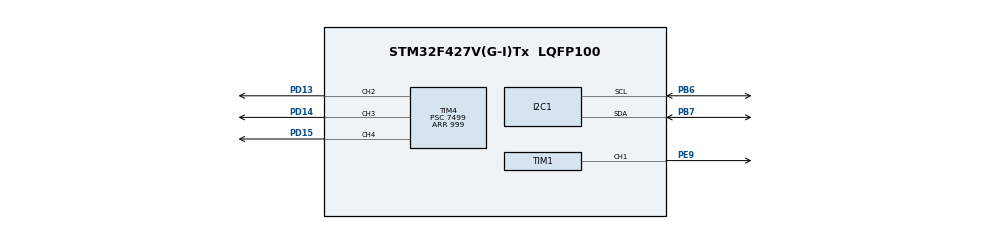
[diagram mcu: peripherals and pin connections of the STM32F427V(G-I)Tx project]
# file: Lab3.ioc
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Mcu.Family=STM32F4
Mcu.Name=STM32F427V(G-I)Tx
Mcu.Package=LQFP100
NVIC.PriorityGroup=NVIC_PRIORITYGROUP_4
NVIC.TIM6_DAC_IRQn=true\:0\:0\:false\:false\:true\:true\:true
NVIC.TIM7_IRQn=true\:0\:0\:false\:false\:true\:true\:true
PA13.Mode=JTAG_5_pins
PA13.Signal=SYS_JTMS-SWDIO
PA14.Mode=JTAG_5_pins
PA14.Signal=SYS_JTCK-SWCLK
PA15.Mode=JTAG_5_pins
PA15.Signal=SYS_JTDI
PB3.Mode=JTAG_5_pins
PB3.Signal=SYS_JTDO-SWO
PB4.Mode=JTAG_5_pins
PB4.Signal=SYS_JTRST
PB6.Mode=I2C
PB6.Signal=I2C1_SCL
PB7.Mode=I2C
PB7.Signal=I2C1_SDA
PD13.Signal=S_TIM4_CH2
PD14.Signal=S_TIM4_CH3
PD15.Signal=S_TIM4_CH4
PE9.Signal=S_TIM1_CH1
PH0/OSC_IN.Mode=HSE-External-Oscillator
PH0/OSC_IN.Signal=RCC_OSC_IN
PH1/OSC_OUT.Mode=HSE-External-Oscillator
PH1/OSC_OUT.Signal=RCC_OSC_OUT
ProjectManager.HeapSize=0x200
ProjectManager.StackSize=0x400
ProjectManager.TargetToolchain=STM32CubeIDE
RCC.48MHZClocksFreq_Value=75000000
RCC.AHBFreq_Value=150000000
RCC.APB1CLKDivider=RCC_HCLK_DIV4
RCC.APB1Freq_Value=37500000
RCC.APB1TimFreq_Value=75000000
RCC.APB2CLKDivider=RCC_HCLK_DIV2
RCC.APB2Freq_Value=75000000
RCC.APB2TimFreq_Value=150000000
RCC.CortexFreq_Value=150000000
RCC.HCLKFreq_Value=150000000
RCC.HSE_VALUE=25000000
RCC.HSI_VALUE=16000000
RCC.LSE_VALUE=32768
RCC.PLLSourceVirtual=RCC_PLLSOURCE_HSE
RCC.SYSCLKFreq_VALUE=150000000
RCC.SYSCLKSource=RCC_SYSCLKSOURCE_PLLCLK
RCC.VCOOutputFreq_Value=300000000
SH.S_TIM1_CH1.0=TIM1_CH1,PWM Generation1 CH1
SH.S_TIM4_CH2.0=TIM4_CH2,PWM Generation2 CH2
SH.S_TIM4_CH3.0=TIM4_CH3,PWM Generation3 CH3
SH.S_TIM4_CH4.0=TIM4_CH4,PWM Generation4 CH4
TIM1.Channel-PWM\ Generation1\ CH1=TIM_CHANNEL_1
TIM1.Period=999
TIM1.Prescaler=74
TIM1.Pulse-PWM\ Generation1\ CH1=500
TIM4.Channel-PWM\ Generation2\ CH2=TIM_CHANNEL_2
TIM4.Channel-PWM\ Generation3\ CH3=TIM_CHANNEL_3
TIM4.Channel-PWM\ Generation4\ CH4=TIM_CHANNEL_4
TIM4.Period=999
TIM4.Prescaler=7499
TIM4.Pulse-PWM\ Generation2\ CH2=1000
TIM4.Pulse-PWM\ Generation3\ CH3=1000
TIM4.Pulse-PWM\ Generation4\ CH4=1000
TIM6.AutoReloadPreload=TIM_AUTORELOAD_PRELOAD_DISABLE
TIM6.Period=7499
TIM6.Prescaler=749
TIM7.AutoReloadPreload=TIM_AUTORELOAD_PRELOAD_DISABLE
TIM7.Period=9999
TIM7.Prescaler=14999
VP_TIM1_VS_ClockSourceINT.Mode=Internal
VP_TIM4_VS_ClockSourceINT.Mode=Internal
VP_TIM6_VS_ClockSourceINT.Mode=Enable_Timer
VP_TIM7_VS_ClockSourceINT.Mode=Enable_Timer
board=custom

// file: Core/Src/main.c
/* USER CODE BEGIN Header */
/**
 ******************************************************************************
 * @file           : main.c
 * @brief          : Main program body
 ******************************************************************************
 * @attention
 *
 * <h2><center>&copy; Copyright (c) 2021 STMicroelectronics.
 * All rights reserved.</center></h2>
 *
 * This software component is licensed by ST under BSD 3-Clause license,
 * the "License"; You may not use this file except in compliance with the
 * License. You may obtain a copy of the License at:
 *                        opensource.org/licenses/BSD-3-Clause
 *
 ******************************************************************************
 */
/* USER CODE END Header */
#include "main.h"
#include "i2c.h"
#include "tim.h"
#include "gpio.h"

/* USER CODE BEGIN Includes */

#include <string.h>
#include <stdio.h>
#include "uart_driver.h"
#include "kb.h"

/* USER CODE END Includes */

/* USER CODE BEGIN PTD */

typedef enum {
	DIF_LVL_EASY = 0, DIF_LVL_MEDIUM = 1, DIF_LVL_HARD = 2
} DIFFICULT_LEVEL;

typedef enum {
	GAME_MODE_LED = 0, GAME_MODE_SOUND = 1, GAME_MODE_LED_AND_SOUND,
} GAME_MODE;

typedef enum {
	LED_COLOR_GREEN = 0, LED_COLOR_RED = 1, LED_COLOR_YELLOW = 2
} LED_COLOR;

typedef enum {
	LED_BRIGHTNESS_20 = 200,	// 20% of 1000
	LED_BRIGHTNESS_50 = 500,	// 50% of 1000
	LED_BRIGHTNESS_100 = 1000	// 100% of 1000
} LED_BRIGHTNESS;

/* USER CODE END PTD */

/* USER CODE BEGIN PD */

#define GAME_SEQUENCE_LEN 21
#define ANSWER_VARIANTS_LEN 9
#define NOTE_BASE_FREQ 100000
#define GAME_MODES_LEN 3
#define GAME_DIF_LVLS_LEN 3

#define KEY_BUFFER_LEN 8

#define PCA9538_INPUT_REGISTER 0x00
#define PCA9538_CONFIG_REGISTER 0x03
#define PCA9538_ADDR 0xE2

/* USER CODE END PD */

/* USER CODE BEGIN PV */

const uint32_t step_duration[3] = { 9999, 4999, 2499 }; // step durations in ms for easy, medium and hard LEVEL
const uint32_t note_T[ANSWER_VARIANTS_LEN] = {
NOTE_BASE_FREQ / 262,	// C
NOTE_BASE_FREQ / 294, 	// D
NOTE_BASE_FREQ / 330, 	// E
NOTE_BASE_FREQ / 349, 	// F
NOTE_BASE_FREQ / 392, 	// G
NOTE_BASE_FREQ / 440, 	// A
NOTE_BASE_FREQ / 494, 	// B
NOTE_BASE_FREQ / 523, 	// C+
NOTE_BASE_FREQ / 587	// D+
};
const LED_COLOR led_color[ANSWER_VARIANTS_LEN] = { LED_COLOR_GREEN,
		LED_COLOR_RED, LED_COLOR_YELLOW,

		LED_COLOR_GREEN, LED_COLOR_RED, LED_COLOR_YELLOW,

		LED_COLOR_GREEN, LED_COLOR_RED, LED_COLOR_YELLOW };
const LED_BRIGHTNESS led_brightness[ANSWER_VARIANTS_LEN] = { LED_BRIGHTNESS_20,
		LED_BRIGHTNESS_50, LED_BRIGHTNESS_100,

		LED_BRIGHTNESS_50, LED_BRIGHTNESS_100, LED_BRIGHTNESS_20,

		LED_BRIGHTNESS_100, LED_BRIGHTNESS_20, LED_BRIGHTNESS_50, };
const uint16_t keys_sequence[GAME_SEQUENCE_LEN] = { 1, 5, 0, 3, 7, 4, 3, 8, 2,
		5, 8, 2, 4, 6, 1, 0, 3, 6, 2, 8, 7 };

uint8_t current_step = 0;
uint8_t current_step_button_pressed = 0;
DIFFICULT_LEVEL dif_lvl = DIF_LVL_EASY;
GAME_MODE game_mode = GAME_MODE_LED_AND_SOUND;
uint8_t in_game = 0;

uint8_t keyboard_test_mode = 0;

uint8_t game_progress[GAME_SEQUENCE_LEN] = { 0 };

uint8_t keys_buffer[KEY_BUFFER_LEN];
uint8_t* keys_buffer_read_p;
uint8_t* keys_buffer_write_p;

// Messages
const char *MSG_GAME_DIFFICULTY_CHANGED[GAME_DIF_LVLS_LEN] = {
		"Game difficulty changed to easy\r\n",
		"Game difficulty changed to medium\r\n",
		"Game difficulty changed to hard\r\n" };
const char *MSG_GAME_MODE_CHANGED[GAME_MODES_LEN] = {
		"Game mode changed to 'only LEDs'\r\n",
		"Game mode changed to 'only sound'\r\n",
		"Game mode changed to 'LEDs and sound'\r\n" };

const char *MSG_GAME_STARTED = "Game is started\r\n";
const char *MSG_GAME_STOPPED = "Game is stopped\r\n";
const char *MSG_GAME_FINISHED = "Game is finished\r\n";

char *MSG_KEY_PRESSED = "Pressed key - #\r\n";
const uint8_t KEY_IN_MSG_KEY_PRESSED_INS_POS = 14;

const char *MSG_KEY_COLOR[ANSWER_VARIANTS_LEN] = {
		"Key LED color GREEN with brightness 20%\r\n",
		"Key LED color RED with brightness 50%\r\n",
		"Key LED color YELLOW with brightness 100%\r\n",
		"Key LED color GREEN with brightness 50%\r\n",
		"Key LED color RED with brightness 100%\r\n",
		"Key LED color YELLOW with brightness 20%\r\n",
		"Key LED color GREEN with brightness 100%\r\n",
		"Key LED color RED with brightness 20%\r\n",
		"Key LED color YELLOW with brightness 50%\r\n" };

const char *MSG_KEY_SOUND[ANSWER_VARIANTS_LEN] = {
		"Key sound frequency is 262\r\n", "Key sound frequency is 294\r\n",
		"Key sound frequency is 330\r\n", "Key sound frequency is 349\r\n",
		"Key sound frequency is 392\r\n", "Key sound frequency is 440\r\n",
		"Key sound frequency is 494\r\n", "Key sound frequency is 523\r\n",
		"Key sound frequency is 587\r\n" };

const char *MSG_GAME_RESULT = "Result:\r\n";
const char *MSG_KEY_CORRECT = "Correct\r\n";
const char *MSG_KEY_INCORRECT = "Fail\r\n";
char *MSG_CORRECT_ANSWER = "Key: # - ";
const uint8_t KEY_IN_MSG_CORRECT_ANSWER_INS_POS = 5;
const char *MSG_SCORE_TEMPLATE = "Score: %d of %d\r\n";

const char *MSG_KEYBOARD_TEST_MODE = "Keyboard test mode\r\n";
const char *MSG_APPLICATION_MODE = "Application mode\r\n";
/* USER CODE END PV */

void SystemClock_Config(void);
/* USER CODE BEGIN PFP */

void start_game();
void stop_game();

void switch_game_mode();
void switch_game_difficulty_lvl();
void start_or_stop_game();

void process_key(uint8_t key);

void set_color(uint8_t key);
void set_sound(uint8_t key);

uint8_t read_key_from_keys_buffer();
void write_key_to_keys_buffer(uint8_t key);

/* USER CODE END PFP */

/* USER CODE BEGIN 0 */

void set_color(uint8_t key) {
	uint16_t brightness = led_brightness[key];
	switch (led_color[key]) {
	case LED_COLOR_GREEN:
		htim4.Instance->CCR2 = brightness;
		htim4.Instance->CCR3 = 0;
		htim4.Instance->CCR4 = 0;
		break;
	case LED_COLOR_RED:
		htim4.Instance->CCR2 = 0;
		htim4.Instance->CCR3 = 0;
		htim4.Instance->CCR4 = brightness;
		break;
	case LED_COLOR_YELLOW:
		htim4.Instance->CCR2 = 0;
		htim4.Instance->CCR3 = brightness;
		htim4.Instance->CCR4 = 0;
		break;
	}
}

void set_sound(uint8_t key) {
	__HAL_TIM_SET_AUTORELOAD(&htim1, note_T[key]); // timer counter period
	htim1.Instance->CCR1 = note_T[key] / 2; // PWM Pulse (max sound 50%)
}

void HAL_I2C_MemTxCpltCallback(I2C_HandleTypeDef *hi2c)
{
    if (hi2c == &hi2c1 && kb_state)
        kb_continue();
}

void HAL_I2C_MemRxCpltCallback(I2C_HandleTypeDef *hi2c)
{
    if (hi2c == &hi2c1 && kb_state)
        kb_continue();
}

void HAL_TIM_PeriodElapsedCallback(TIM_HandleTypeDef *htim) {
	if (htim->Instance == TIM6) {
		uint8_t key = 0;

		static uint8_t prev_confirmed_key = 0;
		static uint8_t prev_key = 0;
		uint8_t current_key = kb_read();

		// key is really pressed or it is just an contact bounce?
		if (current_key == prev_key){
			if (current_key != prev_confirmed_key){
				prev_confirmed_key = current_key;
				key = current_key;
			}
		} else
			prev_key = current_key;

		// if key isn't pressed
		if (!key)
			return;

		write_key_to_keys_buffer(key);
		return;
	}

	if (htim->Instance == TIM7) {
		if (in_game) {

			current_step++;
			current_step_button_pressed = 0;

			// if game ended
			if (current_step >= GAME_SEQUENCE_LEN) {
				stop_game();
			}

			uint16_t current_step_key = keys_sequence[current_step];

			// regulate color
			if (game_mode != GAME_MODE_SOUND)
				set_color(current_step_key);

			// regulate sound
			if (game_mode != GAME_MODE_LED)
				set_sound(current_step_key);
		} else {
			HAL_TIM_Base_Stop_IT(&htim7); // stop steps timer
			HAL_TIM_PWM_Stop(&htim4, TIM_CHANNEL_2); // stop led timer
			HAL_TIM_PWM_Stop(&htim4, TIM_CHANNEL_3); // stop led timer
			HAL_TIM_PWM_Stop(&htim4, TIM_CHANNEL_4); // stop led timer
			HAL_TIM_PWM_Stop(&htim1, TIM_CHANNEL_1); // stop sound timer
		}
		return;
	}
}

	void start_game() {

		send_msg(MSG_GAME_STARTED);

		memset(game_progress, 0, GAME_SEQUENCE_LEN * sizeof(uint8_t));

		current_step = 0;
		current_step_button_pressed = 0;
		in_game = 1;

		uint8_t current_step_key = keys_sequence[current_step];

		// set steps timer
		__HAL_TIM_SET_AUTORELOAD(&htim7, step_duration[dif_lvl]);
		HAL_TIM_Base_Start_IT(&htim7);

		// set color timer
		if (game_mode != GAME_MODE_SOUND) {
			set_color(current_step_key);
			HAL_TIM_PWM_Start(&htim4, TIM_CHANNEL_2);
			HAL_TIM_PWM_Start(&htim4, TIM_CHANNEL_3);
			HAL_TIM_PWM_Start(&htim4, TIM_CHANNEL_4);
		}

		// set sound timer
		if (game_mode != GAME_MODE_LED) {
			set_sound(current_step_key);
			HAL_TIM_PWM_Start(&htim1, TIM_CHANNEL_1);
		}
	}

	void stop_game() {
		in_game = 0;

		HAL_TIM_Base_Stop_IT(&htim7); // stop steps timer

		if (game_mode != GAME_MODE_SOUND){
			HAL_TIM_PWM_Stop(&htim4, TIM_CHANNEL_2); // stop led timer
			HAL_TIM_PWM_Stop(&htim4, TIM_CHANNEL_3); // stop led timer
			HAL_TIM_PWM_Stop(&htim4, TIM_CHANNEL_4); // stop led timer
		}

		if (game_mode != GAME_MODE_LED)
			HAL_TIM_PWM_Stop(&htim1, TIM_CHANNEL_1); // stop sound timer

		if (current_step >= GAME_SEQUENCE_LEN) {
			send_msg(MSG_GAME_FINISHED);
			send_msg(MSG_GAME_RESULT);

			int score = 0;
			for (int i = 0; i < GAME_SEQUENCE_LEN; i++) {
				MSG_CORRECT_ANSWER[KEY_IN_MSG_CORRECT_ANSWER_INS_POS] = '0'
						+ keys_sequence[i] + 1;
				send_msg(MSG_CORRECT_ANSWER);
				if (game_progress[i]) {
					send_msg(MSG_KEY_CORRECT);
					score++;
				} else
					send_msg(MSG_KEY_INCORRECT);
			}

			char msg[32] = { 0 };
			sprintf(msg, MSG_SCORE_TEMPLATE, score, GAME_SEQUENCE_LEN);
			send_msg(msg);
		} else {
			send_msg(MSG_GAME_STOPPED);
		}
	}

	void switch_game_mode() {
		if (in_game == 0) {
			game_mode = (game_mode + 1) % GAME_MODES_LEN;

			send_msg(MSG_GAME_MODE_CHANGED[game_mode]);
		}
	}

	void switch_game_difficulty_lvl() {
		if (in_game == 0) {
			dif_lvl = (dif_lvl + 1) % GAME_DIF_LVLS_LEN;

			send_msg(MSG_GAME_DIFFICULTY_CHANGED[dif_lvl]);
		}
	}

	void start_or_stop_game() {
		if (in_game)
			stop_game();
		else
			start_game();
	}

	void process_key(uint8_t key) {
		if (keyboard_test_mode){
			char msg[5] = {0};
			sprintf(msg, "%d\r\n", (int)key);
			send_msg(msg); // send notification about pressed button
			return;
		}

		switch (key) {
		case 1:
		case 2:
		case 3:
		case 4:
		case 5:
		case 6:
		case 7:
		case 8:
		case 9:
			MSG_KEY_PRESSED[KEY_IN_MSG_KEY_PRESSED_INS_POS] = '0' + key; // change key number in message
			send_msg(MSG_KEY_PRESSED); // send notification about pressed button

			if (in_game) {
				if (current_step_button_pressed){
					game_progress[current_step] = 0;
				}else{
					if (key - 1 == keys_sequence[current_step]) // current key is correct
						game_progress[current_step] = 1;
					else
						game_progress[current_step] = 0;

					current_step_button_pressed = 1;
				}
			} else {
				send_msg(MSG_KEY_COLOR[key - 1]);
				send_msg(MSG_KEY_SOUND[key - 1]);

				set_color(key - 1);
				set_sound(key - 1);

				HAL_TIM_Base_Start_IT(&htim7); // start steps timer
				HAL_TIM_PWM_Start(&htim4, TIM_CHANNEL_2); 	// start led timer
				HAL_TIM_PWM_Start(&htim4, TIM_CHANNEL_3); 	// start led timer
				HAL_TIM_PWM_Start(&htim4, TIM_CHANNEL_4); 	// start led timer
				HAL_TIM_PWM_Start(&htim1, TIM_CHANNEL_1); 	// start sound timer
			}
			break;
		case 10:
			switch_game_difficulty_lvl();
			break;
		case 11:
			switch_game_mode();
			break;
		case 12:
			start_or_stop_game();
			break;
		}
	}

	uint8_t read_key_from_keys_buffer() {
		// critical section
		uint32_t primask_bit = __get_PRIMASK(); /**< backup PRIMASK bit */
		__disable_irq(); /**< Disable all interrupts by setting PRIMASK bit on Cortex*/

		uint8_t key = *(keys_buffer_read_p++);
		if (keys_buffer_read_p >= keys_buffer + KEY_BUFFER_LEN)
			keys_buffer_read_p = keys_buffer;

		__set_PRIMASK(primask_bit); /**< Restore PRIMASK bit*/

		return key;
	}

	void write_key_to_keys_buffer(uint8_t key) {
		// critical section
		uint32_t primask_bit = __get_PRIMASK(); /**< backup PRIMASK bit */
		__disable_irq(); /**< Disable all interrupts by setting PRIMASK bit on Cortex*/

		*(keys_buffer_write_p++) = key;

		if (keys_buffer_write_p >= keys_buffer + KEY_BUFFER_LEN)
			keys_buffer_write_p = keys_buffer;

		__set_PRIMASK(primask_bit); /**< Restore PRIMASK bit*/
	}

	uint8_t is_button_pressed()
	{
		static uint8_t btn_pressed = 0;

		if (HAL_GPIO_ReadPin(GPIOC, GPIO_PIN_15) == GPIO_PIN_RESET)
		{
			if (!btn_pressed)
				btn_pressed = 1;
		}
		else if (btn_pressed)
		{
			btn_pressed = 0;
			return 1;
		}

		return 0;
	}

	/* USER CODE END 0 */

	/**
	 * @brief  The application entry point.
	 * @retval int
	 */
	int main(void) {

		/* MCU Configuration--------------------------------------------------------*/

		/* Reset of all peripherals, Initializes the Flash interface and the Systick. */
		HAL_Init();

		/* Configure the system clock */
		SystemClock_Config();

		/* Initialize all configured peripherals */
		MX_GPIO_Init();
		MX_I2C1_Init();
		MX_TIM6_Init();
		MX_TIM7_Init();
		MX_TIM1_Init();
		MX_TIM4_Init();

		/* Infinite loop */
		/* USER CODE BEGIN WHILE */
		keys_buffer_read_p = keys_buffer;
		keys_buffer_write_p = keys_buffer;
		HAL_TIM_Base_Start_IT(&htim6);
		uint8_t key;
		while (1) {
			/* USER CODE END WHILE */

			/* USER CODE BEGIN 3 */

			if (is_button_pressed()){
				if (keyboard_test_mode){
					keyboard_test_mode = 0;
					send_msg(MSG_APPLICATION_MODE);
				} else {
					if (in_game)
						stop_game();

					send_msg(MSG_KEYBOARD_TEST_MODE);
					keyboard_test_mode = 1;
				}
			}

			key = 0;

			if (keys_buffer_read_p != keys_buffer_write_p)
				key = read_key_from_keys_buffer();

			if (key != 0)
				process_key(key);
			else
				HAL_Delay(100);
		}
		/* USER CODE END 3 */
	}

	/**
	 * @brief System Clock Configuration
	 * @retval None
	 */
	void SystemClock_Config(void) {
		RCC_OscInitTypeDef RCC_OscInitStruct = { 0 };
		RCC_ClkInitTypeDef RCC_ClkInitStruct = { 0 };

		/** Configure the main internal regulator output voltage
		 */
		__HAL_RCC_PWR_CLK_ENABLE();
		__HAL_PWR_VOLTAGESCALING_CONFIG(PWR_REGULATOR_VOLTAGE_SCALE1);
		/** Initializes the RCC Oscillators according to the specified parameters
		 * in the RCC_OscInitTypeDef structure.
		 */
		RCC_OscInitStruct.OscillatorType = RCC_OSCILLATORTYPE_HSE;
		RCC_OscInitStruct.HSEState = RCC_HSE_ON;
		RCC_OscInitStruct.PLL.PLLState = RCC_PLL_ON;
		RCC_OscInitStruct.PLL.PLLSource = RCC_PLLSOURCE_HSE;
		RCC_OscInitStruct.PLL.PLLM = 16;
		RCC_OscInitStruct.PLL.PLLN = 192;
		RCC_OscInitStruct.PLL.PLLP = RCC_PLLP_DIV2;
		RCC_OscInitStruct.PLL.PLLQ = 4;
		if (HAL_RCC_OscConfig(&RCC_OscInitStruct) != HAL_OK) {
			Error_Handler();
		}
		/** Initializes the CPU, AHB and APB buses clocks
		 */
		RCC_ClkInitStruct.ClockType = RCC_CLOCKTYPE_HCLK | RCC_CLOCKTYPE_SYSCLK
				| RCC_CLOCKTYPE_PCLK1 | RCC_CLOCKTYPE_PCLK2;
		RCC_ClkInitStruct.SYSCLKSource = RCC_SYSCLKSOURCE_PLLCLK;
		RCC_ClkInitStruct.AHBCLKDivider = RCC_SYSCLK_DIV1;
		RCC_ClkInitStruct.APB1CLKDivider = RCC_HCLK_DIV4;
		RCC_ClkInitStruct.APB2CLKDivider = RCC_HCLK_DIV2;

		if (HAL_RCC_ClockConfig(&RCC_ClkInitStruct, FLASH_LATENCY_4)
				!= HAL_OK) {
			Error_Handler();
		}
	}

	/**
	 * @brief  This function is executed in case of error occurrence.
	 * @retval None
	 */
	void Error_Handler(void) {
		__disable_irq();
		while (1) {
		}
	}

	/************************ (C) COPYRIGHT STMicroelectronics *****END OF FILE****/
